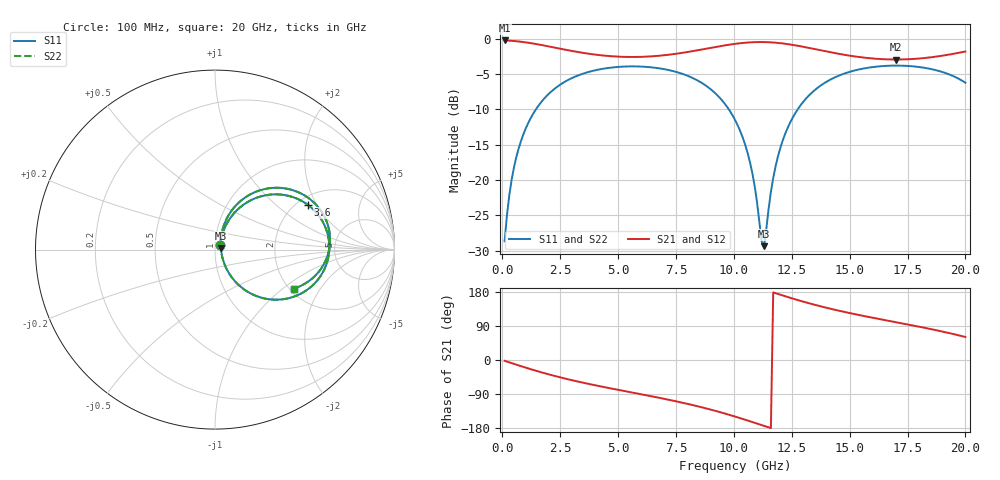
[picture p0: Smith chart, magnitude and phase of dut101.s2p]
! Touchstone file exported from HFSS 2026.1.0
!  File:  C:/ffzhzh/LocalFiles/Ansys_Project_Files/temp_train_TSV_RDL_101_1783044517_46780.aedt
!  Generated:  10:21:11 AM Jul  3, 2026
!  Design:  TSV_RDL
!  Project:  temp_train_TSV_RDL_101_1783044517_46780
! Variables:
!  h_bsmrdl = 2.27um
!  h_ox = 20um
!  h_rdl = 5um
!  h_sub = 92.51um
!  h_tmrdl = 5.96um
!  h_tsv = 92.51um
!  h_via = 3um
!  l_bsmrdl = 218.73um
!  l_sub = 4880.68um
!  l_tmrdl = 937.74um
!  m_sub = 200um
!  pitch = 58.43um
!  r_tsv = 13.99um
!  s_tmrdl = 10um
!  w_bsmrdl = 13.21um
!  w_sub = 500um
!  w_tmrdl = 11.3um
!  x_tsv_center1 = 943.39um
!  x_tsv_center2 = 1175.33um
!  x_tsv_center3 = 2124.37um
!  x_tsv_center4 = 2356.31um
!  x_tsv_center5 = 3305.35um
!  x_tsv_center6 = 3537.29um
# GHz S MA R 50.000000
! Terminal data exported
! Port[1] = TM_RDL1_1_T1
! Port[2] = TM_RDL5_1_T1
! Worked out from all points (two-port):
!   200 points, 100 MHz to 20 GHz, reference 50 ohm
!   highest |S21| = -0.25 dB at 100 MHz (marker M1); lowest = -2.9 dB at 17 GHz (marker M2)
!   |S21| within 3 dB of the highest: start of sweep to end of sweep
!   lowest |S11| = -29.3 dB at 11.3 GHz (marker M3), VSWR 1.07, Z = 53.4 + j1.04 ohm
!   |S11| at or under -10 dB: start of sweep to 1.451 GHz; 9.783 GHz to 12.76 GHz (2.974 GHz wide, 26.4 % of centre)
!   |S22| runs from -29.5 to -3.8 dB; largest |S21 - S12| = 1.6e-14
!   S11 on the Smith chart (normalised r, x): 100 MHz: 1.06, +0.05; 3.6 GHz: 2.27, +1.69; 20 GHz: 2.09, -1.20
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0.1  0.03695 39.2  0.9719 -2.1  0.9719 -2.1  0.03695 39.2
! Gamma 0 0 0 0
! Port Impedance 50 0 50 0
0.5  0.1221 65.8  0.9634 -10.2  0.9634 -10.2  0.1221 65.8
1.1  0.2495 61.0  0.9378 -21.9  0.9378 -21.9  0.2495 61.0
2.1  0.4211 46.3  0.8758 -39.5  0.8758 -39.5  0.4211 46.3
3.5  0.5672 27.0  0.7934 -60.1  0.7934 -60.1  0.5672 27.0
3.6  0.574 25.8  0.7888 -61.4  0.7888 -61.4  0.574 25.8
5.2  0.6347 7.0  0.7445 -81.1  0.7445 -81.1  0.6347 7.0
6.8  0.6168 -11.0  0.7586 -100.1  0.7586 -100.1  0.6168 -11.0
8.8  0.4651 -36.6  0.8496 -127.7  0.8496 -127.7  0.4651 -36.6
10.1  0.257 -55.0  0.9219 -150.2  0.9219 -150.2  0.257 -55.1
10.7  0.1332 -59.2  0.9423 -161.7  0.9423 -161.7  0.1331 -59.4
11.2  0.037 -18.9  0.9474 -171.7  0.9474 -171.7  0.03659 -19.3
11.3  0.03412 16.5  0.9469 -173.7  0.9469 -173.7  0.03365 16.6
11.6  0.08247 65.0  0.9426 -179.7  0.9426 -179.7  0.08224 65.3
12  0.1673 69.7  0.9304 172.4  0.9304 172.4  0.1672 69.9
12.6  0.2876 63.6  0.9011 161.1  0.9011 161.1  0.2875 63.7
13.4  0.42 52.3  0.8509 147.2  0.8509 147.2  0.42 52.3
14.8  0.5692 33.6  0.768 126.5  0.768 126.5  0.5691 33.6
16.7  0.6439 12.0  0.7138 103.2  0.7138 103.2  0.6439 12.0
17  0.6454 8.7  0.7127 99.7  0.7127 99.7  0.6454 8.8
18.5  0.6112 -7.8  0.7383 81.7  0.7383 81.7  0.6112 -7.8
20  0.4885 -26.4  0.8119 60.7  0.8119 60.7  0.4885 -26.4
